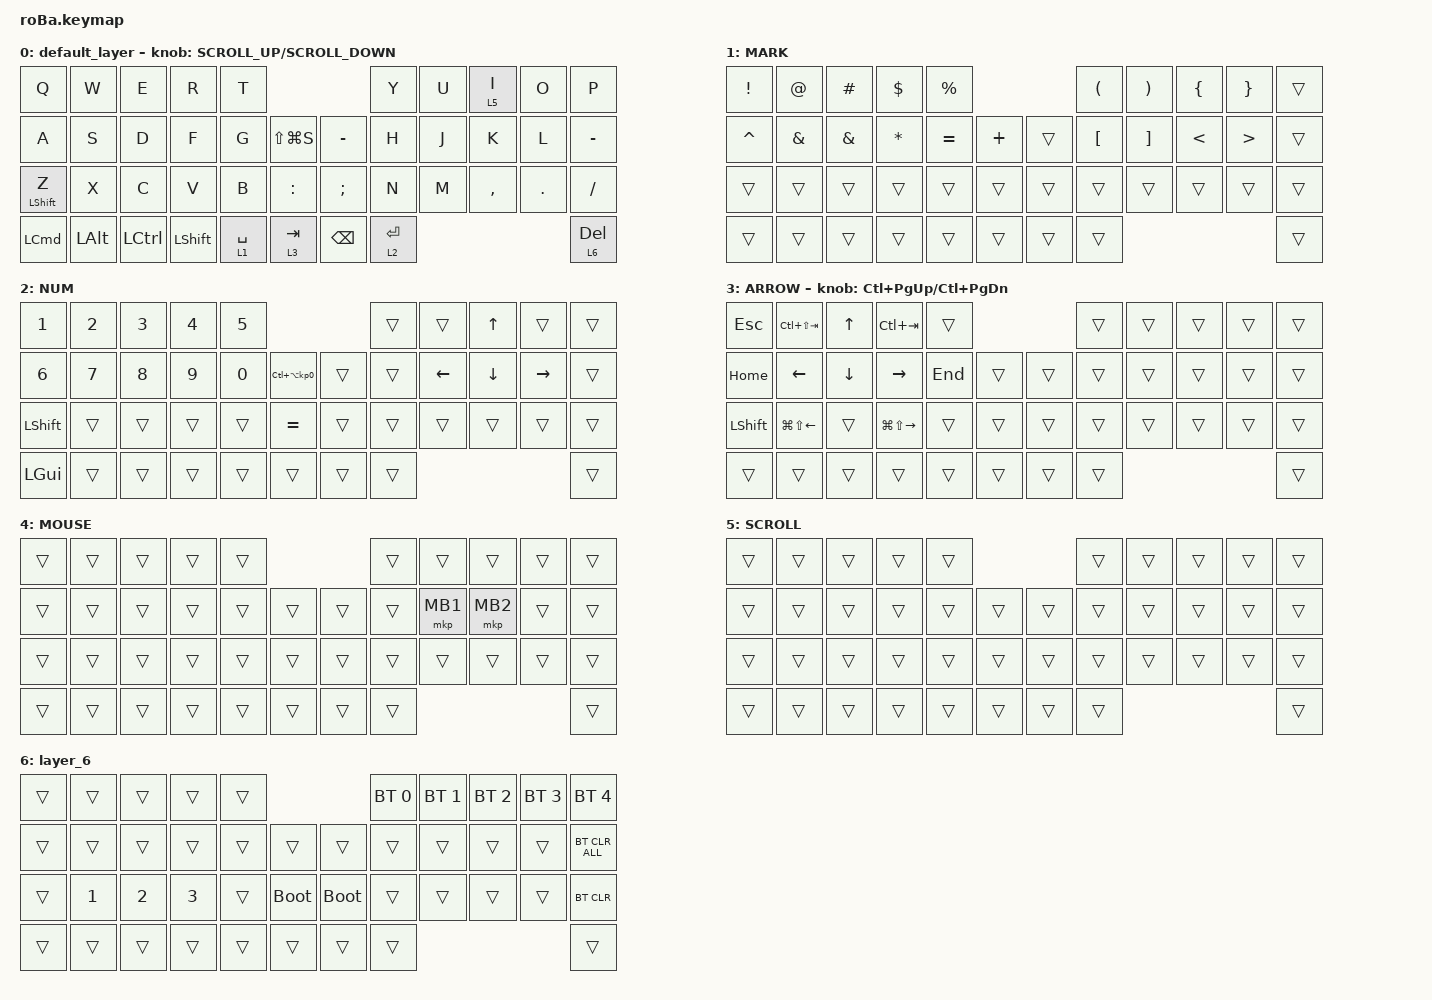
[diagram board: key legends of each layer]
#include <behaviors.dtsi>
#include <dt-bindings/zmk/bt.h>
#include <dt-bindings/zmk/keys.h>
#include <dt-bindings/zmk/pointing.h>

&mt {
    flavor = "balanced";
    quick-tap-ms = <0>;
};

&trackball {
    automouse-layer = <4>;
    scroll-layers = <5>;

    // arrows {
    //     layers = <3>;
    //     bindings =
    //         <&kp RIGHT_ARROW>,
    //         <&kp LEFT_ARROW>,
    //         <&kp UP_ARROW>,
    //         <&kp DOWN_ARROW>;
    //     tick = <10>;
    //     wait-ms = <5>;
    //     tap-ms = <5>;
    // };
};

/ {
    combos {
        compatible = "zmk,combos";

        tab {
            bindings = <&kp TAB>;
            key-positions = <11 12>;
        };

        shift_tab {
            bindings = <&kp LS(TAB)>;
            key-positions = <12 13>;
        };

        muhennkann {
            bindings = <&to_layer_0 INT_MUHENKAN>;
            key-positions = <11 10>;
        };

        double_quotation {
            bindings = <&kp DOUBLE_QUOTES>;
            key-positions = <20 21>;
        };

        eq {
            bindings = <&kp EQUAL>;
            key-positions = <24 25>;
        };

        tilde {
            bindings = <&kp TILDE>;
            key-positions = <2 3>;
        };

        grave {
            bindings = <&kp GRAVE>;
            key-positions = <1 2>;
        };

        mouse_middle {
            bindings = <&mkp MB3>;
            key-positions = <18 19>;
        };

        esc {
            bindings = <&kp ESCAPE>;
            key-positions = <0 1>;
        };

        source {
            bindings = <&kp LG(SPACE)>;
            key-positions = <10 38>;
        };

        semicoron {
            bindings = <&kp SEMICOLON>;
            key-positions = <20 21>;
        };
    };

    macros {
        to_layer_0: to_layer_0 {
            compatible = "zmk,behavior-macro-one-param";
            #binding-cells = <1>;
            bindings = <&to 0 &macro_param_1to1 &kp MACRO_PLACEHOLDER>;
            label = "TO_LAYER_0";
        };
    };

    behaviors {
        lt_to_layer_0: lt_to_layer_0 {
            compatible = "zmk,behavior-hold-tap";
            label = "LAYER_TAP_TO_0";
            bindings = <&mo>, <&to_layer_0>;

            #binding-cells = <2>;
            tapping-term-ms = <200>;
        };
    };

    keymap {
        compatible = "zmk,keymap";

        default_layer {
            bindings = <
&kp Q             &kp W         &kp E             &kp R           &kp T                                                 &kp Y        &kp U  &lt 5 I    &kp O    &kp P
&kp A             &kp S         &kp D             &kp F           &kp G        &kp LS(LG(S))             &kp MINUS      &kp H        &kp J  &kp K      &kp L    &kp MINUS
&mt LEFT_SHIFT Z  &kp X         &kp C             &kp V           &kp B        &kp COLON                 &kp SEMICOLON  &kp N        &kp M  &kp COMMA  &kp DOT  &kp SLASH
&kp LEFT_COMMAND  &kp LEFT_ALT  &kp LEFT_CONTROL  &kp LEFT_SHIFT  &lt 1 SPACE  &lt_to_layer_0 3 TAB      &kp BACKSPACE  &lt 2 ENTER                             &lt 6 DELETE
            >;

            sensor-bindings = <&inc_dec_kp K_SCROLL_UP K_SCROLL_DOWN>;
        };

        MARK {
            bindings = <
&kp EXCLAMATION  &kp AT_SIGN    &kp HASH       &kp DOLLAR    &kp PERCENT                        &kp LEFT_PARENTHESIS  &kp RIGHT_PARENTHESIS  &kp LEFT_BRACE  &kp RIGHT_BRACE   &trans
&kp CARET        &kp AMPERSAND  &kp AMPERSAND  &kp ASTERISK  &kp EQUAL    &kp PLUS      &trans  &kp LEFT_BRACKET      &kp RIGHT_BRACKET      &kp LESS_THAN   &kp GREATER_THAN  &trans
&trans           &trans         &trans         &trans        &trans       &trans        &trans  &trans                &trans                 &trans          &trans            &trans
&trans           &trans         &trans         &trans        &trans       &trans        &trans  &trans                                                                         &trans
            >;
        };

        NUM {
            bindings = <
&kp NUMBER_1    &kp NUMBER_2  &kp NUMBER_3  &kp NUMBER_4  &kp NUMBER_5                                       &trans  &trans          &kp UP_ARROW    &trans           &trans
&kp NUMBER_6    &kp NUMBER_7  &kp NUMBER_8  &kp NUMBER_9  &kp NUMBER_0  &kp LC(LA(KP_NUMBER_0))      &trans  &trans  &kp LEFT_ARROW  &kp DOWN_ARROW  &kp RIGHT_ARROW  &trans
&kp LEFT_SHIFT  &trans        &trans        &trans        &trans        &kp EQUAL                    &trans  &trans  &trans          &trans          &trans           &trans
&kp LEFT_GUI    &trans        &trans        &trans        &trans        &trans                       &trans  &trans                                                   &trans
            >;
        };

        ARROW {
            bindings = <
&kp ESCAPE      &kp LC(LS(TAB))         &kp UP_ARROW    &kp LC(TAB)              &trans                       &trans  &trans  &trans  &trans  &trans
&kp HOME        &kp LEFT_ARROW          &kp DOWN_ARROW  &kp RIGHT_ARROW          &kp END  &trans      &trans  &trans  &trans  &trans  &trans  &trans
&kp LEFT_SHIFT  &kp LG(LS(LEFT_ARROW))  &trans          &kp LG(LS(RIGHT_ARROW))  &trans   &trans      &trans  &trans  &trans  &trans  &trans  &trans
&trans          &trans                  &trans          &trans                   &trans   &trans      &trans  &trans                          &trans
            >;

            sensor-bindings = <&inc_dec_kp LC(PAGE_UP) LC(PAGE_DOWN)>;
        };

        MOUSE {
            bindings = <
&trans  &trans  &trans  &trans  &trans                      &trans  &trans    &trans    &trans  &trans
&trans  &trans  &trans  &trans  &trans  &trans      &trans  &trans  &mkp MB1  &mkp MB2  &trans  &trans
&trans  &trans  &trans  &trans  &trans  &trans      &trans  &trans  &trans    &trans    &trans  &trans
&trans  &trans  &trans  &trans  &trans  &trans      &trans  &trans                              &trans
            >;
        };

        SCROLL {
            bindings = <
&trans  &trans  &trans  &trans  &trans                      &trans  &trans  &trans  &trans  &trans
&trans  &trans  &trans  &trans  &trans  &trans      &trans  &trans  &trans  &trans  &trans  &trans
&trans  &trans  &trans  &trans  &trans  &trans      &trans  &trans  &trans  &trans  &trans  &trans
&trans  &trans  &trans  &trans  &trans  &trans      &trans  &trans                          &trans
            >;
        };

        layer_6 {
            bindings = <
&trans  &trans        &trans        &trans        &trans                                &bt BT_SEL 0  &bt BT_SEL 1  &bt BT_SEL 2  &bt BT_SEL 3  &bt BT_SEL 4
&trans  &trans        &trans        &trans        &trans  &trans           &trans       &trans        &trans        &trans        &trans        &bt BT_CLR_ALL
&trans  &kp NUMBER_1  &kp NUMBER_2  &kp NUMBER_3  &trans  &bootloader      &bootloader  &trans        &trans        &trans        &trans        &bt BT_CLR
&trans  &trans        &trans        &trans        &trans  &trans           &trans       &trans                                                  &trans
            >;
        };
    };
};
